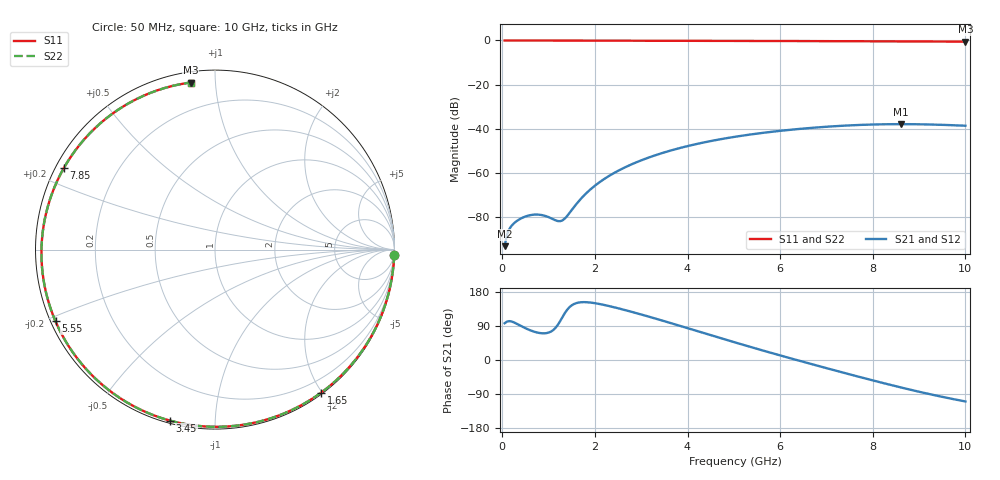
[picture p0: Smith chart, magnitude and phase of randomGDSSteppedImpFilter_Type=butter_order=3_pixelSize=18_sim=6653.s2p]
! freq	dB(S11)	phase(S11)	dB(S12)	phase(S12)
!  dB(S21)	phase(S21)	dB(S22)	phase(S22)
!S-par simulation data
#  GHz  S  DB  R 50
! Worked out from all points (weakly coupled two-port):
!   200 points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, 50 MHz to 10 GHz, reference 50 ohm
!   highest |S21| = -37.93 dB at 8.6 GHz (marker M1); lowest = -93.2 dB at 50 MHz (marker M2)
!   lowest |S11| = -0.5 dB at 10 GHz (marker M3), VSWR 32.73, Z = 2.67 + j43.2 ohm
!   |S11| at or under -10 dB: nowhere
!   |S22| runs from -0.5 to 0.0 dB; largest |S21 - S12| = 0
!   S11 on the Smith chart (normalised r, x): 50 MHz: 1, -71; 1.65 GHz: 0.02, -1.99; 3.45 GHz: 0.01, -0.77; 5.55 GHz: 0.01, -0.21; 7.85 GHz: 0.02, +0.25; 10 GHz: 0.05, +0.86
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0.05  -0.00 -1.6  -93.24 97.0  -93.24 97.0  -0.00 -1.6
0.45  -0.02 -14.9  -80.20 86.9  -80.20 86.9  -0.02 -14.9
0.65  -0.03 -21.5  -79.03 76.2  -79.03 76.2  -0.03 -21.5
1.35  -0.06 -44.1  -80.72 123.8  -80.72 123.8  -0.06 -44.1
1.4  -0.06 -45.7  -79.57 132.5  -79.57 132.5  -0.06 -45.7
1.65  -0.07 -53.5  -72.89 151.6  -72.89 151.6  -0.07 -53.5
1.75  -0.07 -56.5  -70.57 152.7  -70.57 152.7  -0.07 -56.5
2.05  -0.08 -65.6  -65.02 148.9  -65.02 148.9  -0.08 -65.6
2.45  -0.09 -77.3  -59.65 138.1  -59.65 138.1  -0.09 -77.3
2.9  -0.11 -89.9  -55.18 123.5  -55.18 123.5  -0.11 -89.9
3.4  -0.13 -103.4  -51.38 106.0  -51.38 106.0  -0.13 -103.4
3.45  -0.13 -104.7  -51.05 104.2  -51.05 104.2  -0.13 -104.7
4.2  -0.16 -123.7  -46.91 76.7  -46.91 76.7  -0.16 -123.8
5.05  -0.20 -144.2  -43.57 45.5  -43.57 45.5  -0.20 -144.2
5.55  -0.23 -155.8  -42.09 27.7  -42.09 27.7  -0.23 -155.8
6.15  -0.26 -169.5  -40.64 7.0  -40.64 7.0  -0.26 -169.5
6.7  -0.30 178.0  -39.58 -11.6  -39.58 -11.6  -0.30 178.0
7.85  -0.38 151.5  -38.19 -49.1  -38.19 -49.1  -0.38 151.5
8.35  -0.42 139.7  -37.96 -64.7  -37.96 -64.7  -0.42 139.7
8.6  -0.44 133.6  -37.93 -72.2  -37.93 -72.2  -0.44 133.6
9.35  -0.49 115.0  -38.15 -93.3  -38.15 -93.3  -0.49 115.0
10  -0.53 98.3  -38.65 -109.4  -38.65 -109.4  -0.53 98.3
